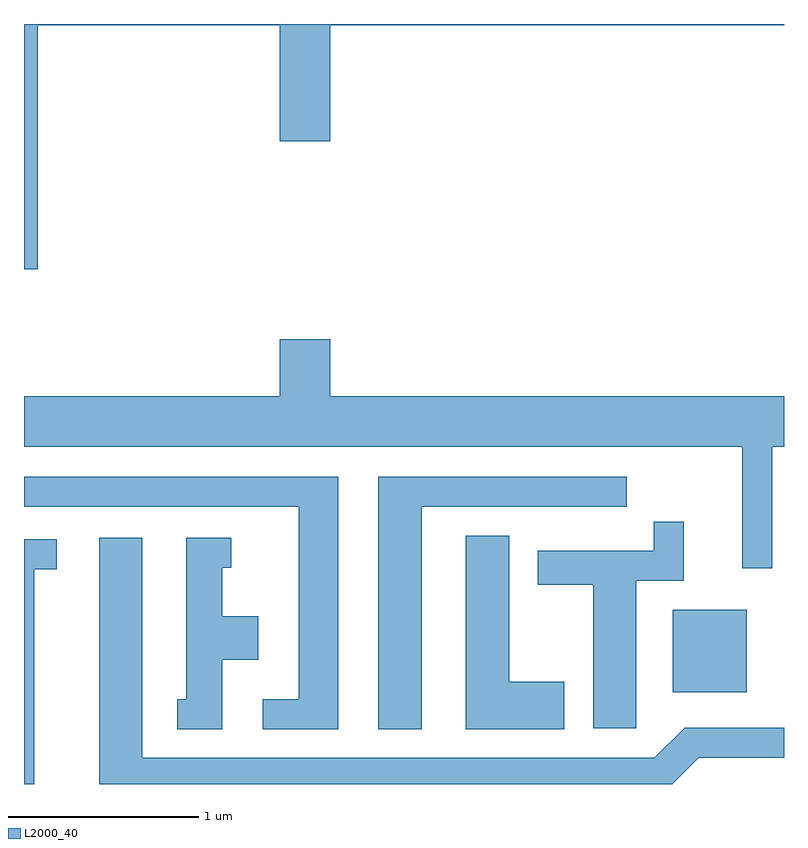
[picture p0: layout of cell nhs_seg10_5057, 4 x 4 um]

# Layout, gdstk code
import gdstk
lib = gdstk.Library(unit=1e-6, precision=1e-09)
def R(c, l, rs):  # rectangles x0, y0, x1, y1
    for r in rs: c.add(gdstk.rectangle(r[:2], r[2:], *l))
def P(c, l, *ps):  # polygons
    for p in ps: c.add(gdstk.Polygon(p, *l))
L2000_40 = (2000, 40)

nhs_seg10_5057 = lib.new_cell('nhs_seg10_5057')
R(nhs_seg10_5057, L2000_40, [(337.026,2177.006,337.414,2177.439)])
P(nhs_seg10_5057, L2000_40, [(333.611,2179.231),(333.684,2179.231),(333.684,2180.516),(334.956,2180.516),(334.956,2179.906),(335.224,2179.906),(335.224,2180.516),(337.611,2180.516),(337.611,2180.522),(333.611,2180.522)],
  [(337.549,2178.296),(337.611,2178.296),(337.611,2178.564),(335.224,2178.564),(335.224,2178.864),(334.956,2178.864),(334.956,2178.564),(333.611,2178.564),(333.611,2178.296),(337.391,2178.296),(337.391,2177.658),(337.549,2177.658)],
  [(335.264,2178.139),(333.611,2178.139),(333.611,2177.981),(335.056,2177.981),(335.056,2176.969),(334.868,2176.969),(334.868,2176.811),(335.264,2176.811)],
  [(335.704,2177.981),(336.783,2177.981),(336.783,2178.139),(335.476,2178.139),(335.476,2176.811),(335.704,2176.811)],
  [(336.834,2177.591),(337.084,2177.591),(337.084,2177.903),(336.926,2177.903),(336.926,2177.749),(336.316,2177.749),(336.316,2177.571),(336.606,2177.571),(336.606,2176.816),(336.834,2176.816)],
  [(336.454,2177.059),(336.164,2177.059),(336.164,2177.829),(335.936,2177.829),(335.936,2176.811),(336.454,2176.811)],
  [(337.162,2176.661),(337.611,2176.661),(337.611,2176.819),(337.089,2176.819),(336.929,2176.659),(334.234,2176.659),(334.234,2177.819),(334.006,2177.819),(334.006,2176.522),(337.023,2176.522)],
  [(334.654,2177.176),(334.844,2177.176),(334.844,2177.404),(334.654,2177.404),(334.654,2177.661),(334.703,2177.661),(334.703,2177.819),(334.466,2177.819),(334.466,2176.969),(334.418,2176.969),(334.418,2176.811),(334.654,2176.811)],
  [(333.664,2177.651),(333.783,2177.651),(333.783,2177.809),(333.611,2177.809),(333.611,2176.522),(333.664,2176.522)])

lib.write_gds('nhs_seg10_5057.gds')
